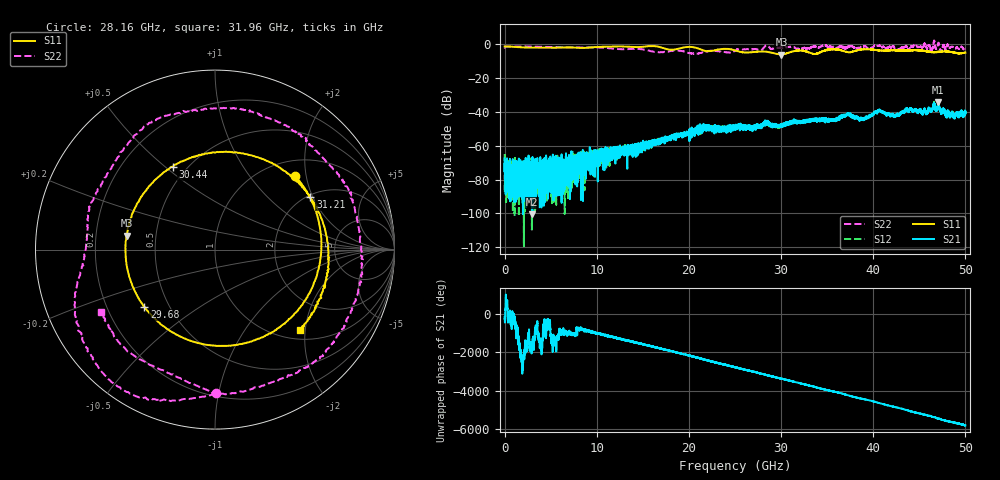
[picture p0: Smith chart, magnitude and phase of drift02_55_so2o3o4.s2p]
!Created with skrf (http://scikit-rf.org).
# Hz S RI R 50.0
!freq ReS11 ImS11 ReS21 ImS21 ReS12 ImS12 ReS22 ImS22
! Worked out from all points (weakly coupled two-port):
!   10001 points, 300 kHz to 50 GHz, reference 50 ohm
!   highest |S21| = -34.37 dB at 47.06 GHz (marker M1); lowest = -100.5 dB at 3.01 GHz (marker M2)
!   lowest |S11| = -6.1 dB at 30.04 GHz (marker M3), VSWR 2.97, Z = 17 + j3.53 ohm
!   |S11| at or under -10 dB: nowhere
!   |S22| runs from -5.7 to 2.2 dB; largest |S21 - S12| = 0.0029
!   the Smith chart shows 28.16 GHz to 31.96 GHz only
!   S11 on the Smith chart (normalised r, x): 28.16 GHz: 1.33, +1.73; 29.68 GHz: 0.36, -0.31; 30.44 GHz: 0.42, +0.53; 31.21 GHz: 2.08, +1.92; 31.96 GHz: 1.19, -1.87
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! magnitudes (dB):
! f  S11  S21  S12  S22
! 300 kHz  -1.3  -67.4  -64.9  -2.0
! 265.3 MHz  -1.4  -76.8  -78.7  -1.4
! 3.01 GHz  -2.0  -100.5  -76.8  -1.4
! 8.335 GHz  -2.2  -68.1  -67.9  -1.9
! 16.67 GHz  -1.4  -56.5  -55.9  -4.7
! 21.58 GHz  -3.7  -49.1  -49.4  -4.7
! 25 GHz  -3.7  -50.2  -49.3  -3.9
! 28.16 GHz  -4.3  -47.3  -46.8  -1.9
! 29.68 GHz  -5.9  -48.1  -48.4  -2.1
! 30.04 GHz  -6.1  -48.2  -48.3  -2.0
! 30.44 GHz  -5.7  -46.7  -47.1  -1.8
! 31.21 GHz  -4.3  -46.5  -46.6  -1.8
! 31.96 GHz  -3.7  -45.4  -46.0  -2.8
! 33.34 GHz  -5.5  -44.8  -44.8  -1.6
! 35.61 GHz  -3.0  -44.9  -45.0  -1.6
! 37.29 GHz  -4.7  -41.4  -40.9  -1.2
! 38.9 GHz  -3.1  -44.5  -44.8  -1.4
! 40.68 GHz  -3.7  -39.2  -39.2  -0.9
! 41.67 GHz  -3.6  -41.3  -41.4  -1.9
! 47.06 GHz  -4.6  -34.4  -34.9  0.8
! 48.6 GHz  -4.8  -41.1  -41.4  -1.5
! 50 GHz  -4.9  -40.4  -40.6  -2.6
